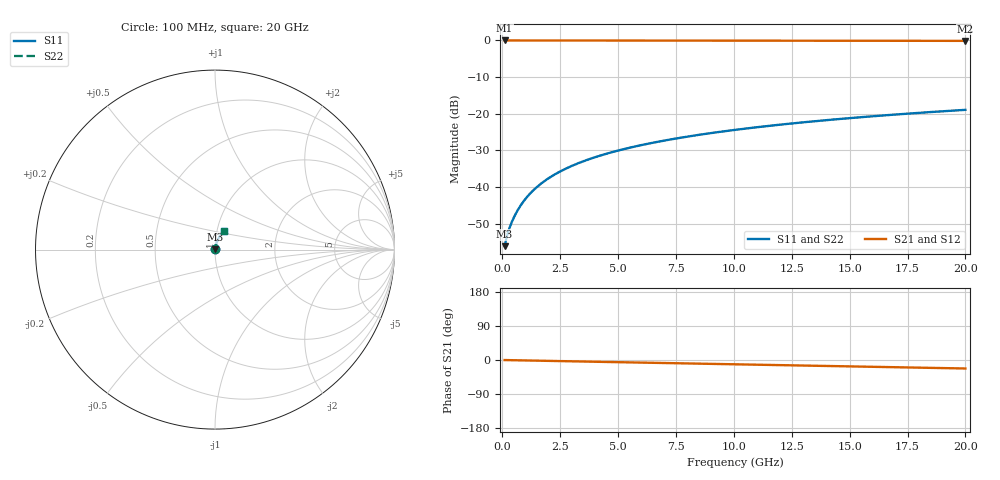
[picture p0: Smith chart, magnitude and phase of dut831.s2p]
! Touchstone file exported from HFSS 2026.1.0
!  File:  C:/ffzhzh/LocalFiles/Ansys_Project_Files/temp_train_BSMRDL_831_1783170233_51560.aedt
!  Generated:  09:05:06 PM Jul  4, 2026
!  Design:  BSMRDL
!  Project:  temp_train_BSMRDL_831_1783170233_51560
! Variables:
!  h_bsmrdl = 4.27um
!  h_ox = 20um
!  h_rdl = 5um
!  h_sub = 80um
!  h_tmrdl = 5um
!  h_tsv = 80um
!  h_via = 3um
!  l_bsmrdl = 359.73um
!  l_sub = 759.73um
!  l_tmrdl = 200um
!  m_sub = 200um
!  pitch = 40.11um
!  r_tsv = 6um
!  s_tmrdl = 10um
!  w_bsmrdl = 28.46um
!  w_sub = 500um
!  w_tmrdl = 12um
!  x_tsv_center1 = 206um
!  x_tsv_center2 = 594.19um
!  x_tsv_center3 = 806.19um
!  x_tsv_center4 = 1194.38um
!  x_tsv_center5 = 1406.38um
!  x_tsv_center6 = 1794.57um
# GHz S MA R 50.000000
! Terminal data exported
! Port[1] = BSM_RDL1_1_T1
! Port[2] = BSM_RDL1_1_T2
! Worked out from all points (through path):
!   200 points, 100 MHz to 20 GHz, reference 50 ohm
!   highest |S21| = -0.01 dB at 100 MHz (marker M1); lowest = -0.1 dB at 20 GHz (marker M2)
!   group delay of S21, straight-line fit = 3.1 ps
!   lowest |S11| = -56.2 dB at 100 MHz (marker M3), VSWR 1.00, Z = 50.1 + j0.0849 ohm
!   |S11| at or under -10 dB: start of sweep to end of sweep
!   |S22| runs from -56.2 to -19.0 dB; largest |S21 - S12| = 2.7e-15
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0.1  0.001551 33.1  0.9987 -0.1  0.9987 -0.1  0.001551 33.1
! Gamma 0 0 0 0
! Port Impedance 50 0 50 0
0.2  0.002127 46.9  0.9986 -0.2  0.9986 -0.2  0.002127 46.9
0.3  0.002689 54.4  0.9984 -0.4  0.9984 -0.4  0.00269 54.4
0.4  0.003251 59.7  0.9983 -0.5  0.9983 -0.5  0.003251 59.7
0.5  0.003825 63.7  0.9983 -0.6  0.9983 -0.6  0.003825 63.7
0.6  0.004412 66.7  0.9982 -0.7  0.9982 -0.7  0.004413 66.7
0.8  0.005621 70.9  0.9982 -0.9  0.9982 -0.9  0.005621 70.9
1  0.006856 73.5  0.9981 -1.2  0.9981 -1.2  0.006856 73.5
1.2  0.008106 75.3  0.998 -1.4  0.998 -1.4  0.008106 75.3
1.4  0.009362 76.5  0.998 -1.6  0.998 -1.6  0.009362 76.5
1.7  0.01125 77.6  0.9979 -2.0  0.9979 -2.0  0.01125 77.6
2.2  0.01438 78.5  0.9976 -2.6  0.9976 -2.6  0.01438 78.5
2.8  0.0181 78.9  0.9973 -3.2  0.9973 -3.2  0.0181 78.9
3.5  0.02238 78.8  0.997 -4.0  0.997 -4.0  0.02238 78.8
4.2  0.02659 78.4  0.9965 -4.8  0.9965 -4.8  0.02659 78.4
5  0.03134 77.9  0.996 -5.7  0.996 -5.7  0.03134 77.9
6.8  0.04178 76.4  0.9949 -7.8  0.9949 -7.8  0.04178 76.4
8.3  0.05029 75.1  0.9939 -9.5  0.9939 -9.5  0.05029 75.1
10.1  0.06033 73.4  0.9928 -11.5  0.9928 -11.5  0.06033 73.4
13.4  0.07832 70.3  0.9906 -15.1  0.9906 -15.1  0.07833 70.3
16.7  0.09582 67.1  0.9884 -18.8  0.9884 -18.8  0.09583 67.0
20  0.1128 63.7  0.9859 -22.4  0.9859 -22.4  0.1128 63.7
